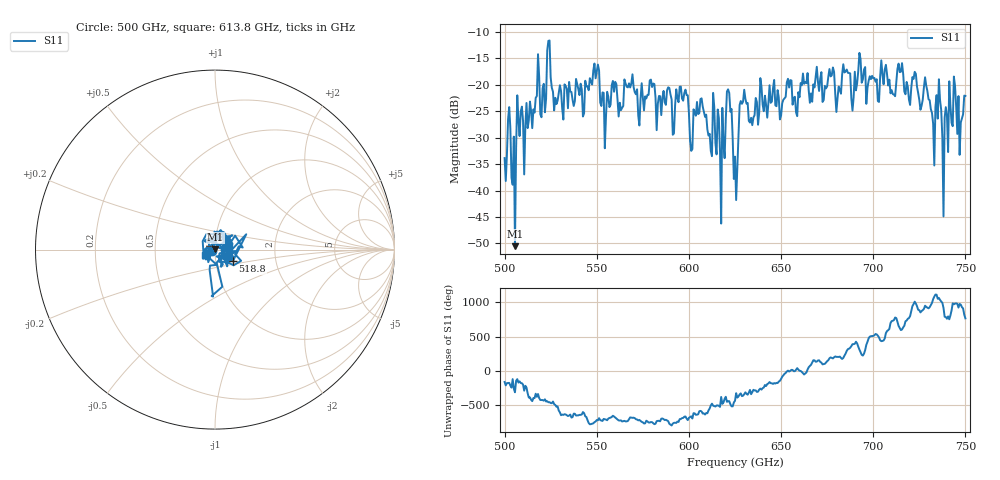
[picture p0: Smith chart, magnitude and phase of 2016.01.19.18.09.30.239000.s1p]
!Created with skrf (http://scikit-rf.org).
# GHz S RI R 50.0
!freq ReS11 ImS11
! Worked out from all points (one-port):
!   401 points, 500 GHz to 750 GHz, reference 50 ohm
!   lowest |S11| = -50.5 dB at 505.6 GHz (marker M1), VSWR 1.01, Z = 50.2 + j0.233 ohm
!   |S11| at or under -10 dB: start of sweep to end of sweep
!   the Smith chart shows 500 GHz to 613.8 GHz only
!   S11 on the Smith chart (normalised r, x): 500 GHz: 0.96, -0.01; 518.8 GHz: 1.21, -0.16; 613.8 GHz: 0.90, -0.06
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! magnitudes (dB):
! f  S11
! 500 GHz  -33.9
! 502.5 GHz  -24.2
! 505.6 GHz  -50.5
! 508.1 GHz  -29.7
! 511.9 GHz  -23.5
! 518.8 GHz  -18.5
! 524.4 GHz  -11.6
! 526.9 GHz  -24.9
! 531.2 GHz  -24.5
! 550 GHz  -17.5
! 553.8 GHz  -21.6
! 562.5 GHz  -23.4
! 593.8 GHz  -22.5
! 613.8 GHz  -24.2
! 618.1 GHz  -24.4
! 621.9 GHz  -21.6
! 625 GHz  -33.6
! 628.8 GHz  -23.6
! 656.2 GHz  -23.8
! 687.5 GHz  -17.9
! 714.4 GHz  -17.6
! 718.8 GHz  -20.4
! 732.5 GHz  -27.4
! 735.6 GHz  -19.0
! 739.4 GHz  -24.2
! 742.5 GHz  -27.2
! 746.9 GHz  -33.3
! 750 GHz  -22.1
